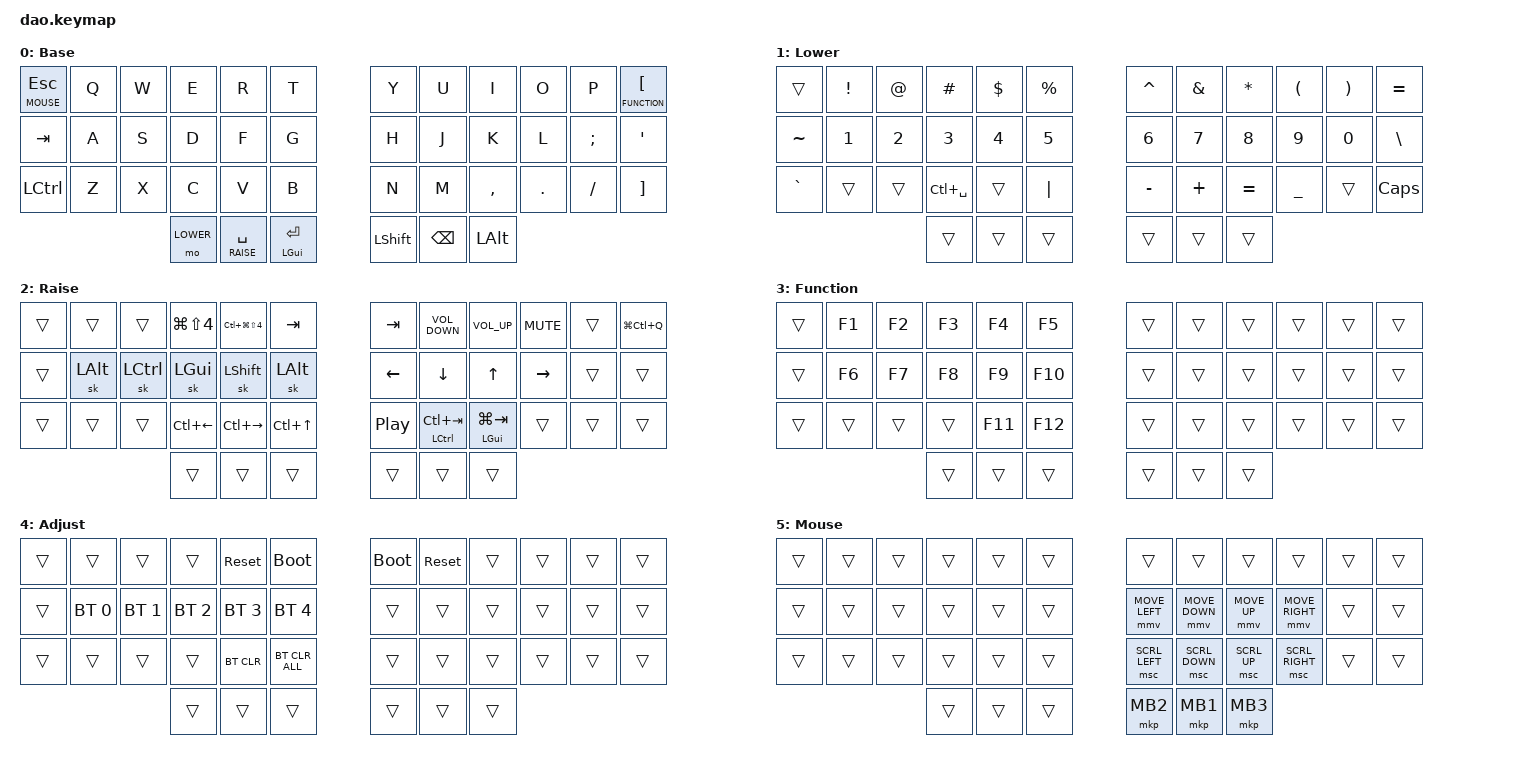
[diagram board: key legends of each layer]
#include <behaviors.dtsi>
#include <dt-bindings/zmk/keys.h>
#include <dt-bindings/zmk/bt.h>

#define ZMK_POINTING_DEFAULT_MOVE_VAL 1500  // default: 600
#define ZMK_POINTING_DEFAULT_SCRL_VAL 20    // default: 10

#include <dt-bindings/zmk/pointing.h>

#define DEFAULT 0
#define LOWER 1
#define RAISE 2
#define FUNCTION 3
#define ADJUST 4
#define MOUSE 5

#define MAX_TIMER __UINT32_MAX__ // around 50 days

&sk {
  release-after-ms = <MAX_TIMER>;
  quick-release;
  ignore-modifiers;
};

&sl {
  ignore-modifiers;
};

&mt { quick_tap_ms = <150>; };

&lt { 
  quick_tap_ms = <150>; 
  flavor = "balanced";
  tapping-term-ms = <175>;
};

/ {
    chosen {
        zmk,physical_layout = &dao_crkbd_layout;
    };
};

/ {
    behaviors {
      ht: ht {
        compatible = "zmk,behavior-hold-tap";
        #binding-cells = <2>;
        flavor = "balanced";
        tapping-term-ms = <175>;
        quick-tap-ms = <0>;
        require-prior-idle-ms = <100>;
        hold-trigger-on-release;
        bindings =
          <&kp>,
          <&kp>;
      };
    };

    combos {
      compatible = "zmk,combos";
      timeout-ms = <20>;
      require-prior-idle-ms = <250>;

      combo_sign_plus {
          bindings = <&kp PLUS>;
          key-positions = <2 3>;
          layers = <DEFAULT LOWER>;
      };

      combo_sign_left_parenthesis {
          bindings = <&kp LEFT_PARENTHESIS>;
          key-positions = <4 5>;
          layers = <DEFAULT LOWER>;
      };

      combo_sign_left_bracket {
          bindings = <&kp LEFT_BRACKET>;
          key-positions = <16 17>;
          layers = <DEFAULT LOWER>;
      };

      combo_sign_left_brace {
          bindings = <&kp LEFT_BRACE>;
          key-positions = <28 29>;
          layers = <DEFAULT LOWER>;
      };

      combo_sign_right_parenthesis {
          bindings = <&kp RIGHT_PARENTHESIS>;
          key-positions = <6 7>;
          layers = <DEFAULT LOWER>;
      };

      combo_sign_underskore {
          bindings = <&kp UNDERSCORE>;
          key-positions = <7 8>;
          layers = <DEFAULT LOWER>;
      };

      combo_sign_minus {
          bindings = <&kp MINUS>;
          key-positions = <8 9>;
          layers = <DEFAULT LOWER>;
      };

      combo_sign_right_bracket {
          bindings = <&kp RIGHT_BRACKET>;
          key-positions = <18 19>;
          layers = <DEFAULT LOWER>;
      };

      combo_sign_right_brace {
          bindings = <&kp RIGHT_BRACE>;
          key-positions = <30 31>;
          layers = <DEFAULT LOWER>;
      };
    };

    conditional_layers {
      compatible = "zmk,conditional-layers";

      adjust_layer {
          if-layers = <LOWER MOUSE>;
          then-layer = <ADJUST>;
      };
    };

    keymap {
        compatible = "zmk,keymap";

        Base {
            display-name = "Base";
            bindings = <
                &lt MOUSE ESC    &kp Q      &kp W      &kp E      &kp R      &kp T              &kp Y      &kp U      &kp I      &kp O      &kp P      &lt FUNCTION LEFT_BRACKET
                &kp TAB          &kp A      &kp S      &kp D      &kp F      &kp G              &kp H      &kp J      &kp K      &kp L      &kp SEMI   &kp APOS
                &kp LCTRL        &kp Z      &kp X      &kp C      &kp V      &kp B              &kp N      &kp M      &kp COMMA  &kp DOT    &kp FSLH   &kp RIGHT_BRACKET
                                          &mo LOWER   &lt RAISE SPACE  &mt LGUI RET          &kp LSHFT  &kp BSPC   &kp LEFT_ALT
            >;
        };
        
        Lower {
            display-name = "Lower";
            bindings = <
                &trans    &kp EXCL   &kp AT     &kp HASH   &kp DLLR   &kp PRCNT              &kp CARET  &kp AMPS   &kp ASTRK  &kp LPAR   &kp RPAR   &kp EQUAL
                &kp TILDE &kp N1     &kp N2     &kp N3     &kp N4     &kp N5                 &kp N6     &kp N7     &kp N8     &kp N9     &kp N0     &kp BACKSLASH
                &kp GRAVE &trans     &trans     &kp LC(SPACE) &trans &kp PIPE               &kp MINUS  &kp PLUS   &kp EQUAL &kp UNDERSCORE &trans &kp CAPSLOCK
                                              &trans     &trans     &trans     &trans     &trans  &trans
            >;
        };
        
        Raise {
            display-name = "Raise";
            bindings = <
                &trans  &trans        &trans     &kp LG(LS(N4))  &kp LC(LG(LS(N4)))  &kp TAB        &kp TAB           &kp C_VOLUME_DOWN  &kp C_VOLUME_UP   &kp C_MUTE  &trans  &kp LG(LC(Q)) 
                &trans  &sk LEFT_ALT  &sk LCTRL  &sk LGUI        &sk LSHFT           &sk LEFT_ALT   &kp LEFT          &kp DOWN           &kp UP            &kp RIGHT  &trans   &trans
                &trans  &trans        &trans     &kp LC(LEFT)    &kp LC(RIGHT)       &kp LC(UP)     &kp C_PLAY_PAUSE  &ht LCTRL LC(TAB)  &ht LGUI LG(TAB)  &trans     &trans   &trans
                                                          &trans        &trans         &trans         &trans         &trans         &trans
            >;
        };

        Function {
            display-name = "Function";
            bindings = <
                &trans &kp F1      &kp F2      &kp F3      &kp F4      &kp F5                 &trans       &trans       &trans       &trans       &trans       &trans
                &trans &kp F6      &kp F7      &kp F8      &kp F9      &kp F10                &trans       &trans       &trans       &trans       &trans       &trans
                &trans &trans      &trans      &trans      &kp F11     &kp F12                &trans       &trans       &trans       &trans       &trans       &trans
                                                     &trans      &trans      &trans      &trans      &trans       &trans
            >;
        };

        Adjust {
            display-name = "Adjust";
            bindings = <
                &trans      &trans      &trans      &trans      &sys_reset  &bootloader      &bootloader  &sys_reset   &trans       &trans       &trans       &trans
                &trans      &bt BT_SEL 0 &bt BT_SEL 1 &bt BT_SEL 2 &bt BT_SEL 3 &bt BT_SEL 4    &trans       &trans       &trans       &trans       &trans       &trans
                &trans      &trans      &trans      &trans      &bt BT_CLR  &bt BT_CLR_ALL   &trans       &trans       &trans       &trans       &trans       &trans
                                                       &trans      &trans      &trans      &trans      &trans      &trans
            >;
        };

        Mouse {
            display-name = "Mouse";
            bindings = <
                &trans      &trans      &trans      &trans      &trans      &trans              &trans       &trans       &trans       &trans       &trans         &trans
                &trans      &trans      &trans      &trans      &trans      &trans             &mmv MOVE_LEFT   &mmv MOVE_DOWN   &mmv MOVE_UP   &mmv MOVE_RIGHT    &trans   &trans
                &trans      &trans      &trans      &trans      &trans      &trans             &msc SCRL_LEFT   &msc SCRL_DOWN   &msc SCRL_UP   &msc SCRL_RIGHT    &trans   &trans
                                                       &trans      &trans      &trans      &mkp MB2      &mkp MB1     &mkp MB3 
            >;
        };
    };
};
